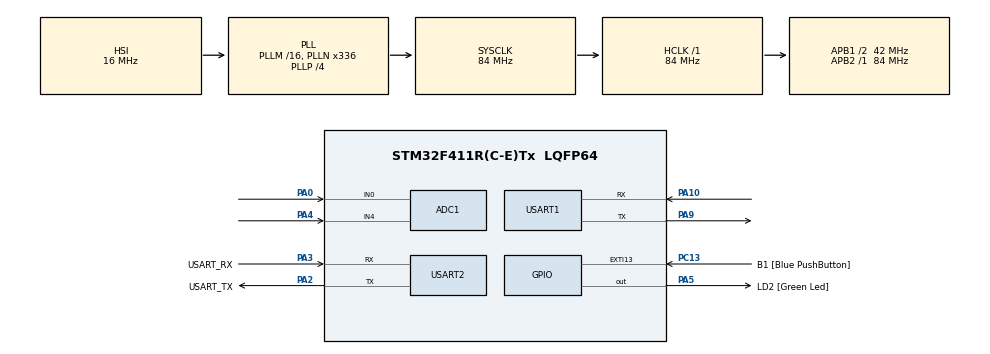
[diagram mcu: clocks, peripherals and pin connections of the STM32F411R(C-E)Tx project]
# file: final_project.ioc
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ADC1.Channel-0\#ChannelRegularConversion=ADC_CHANNEL_0
ADC1.NbrOfConversionFlag=1
ADC1.Rank-0\#ChannelRegularConversion=1
ADC1.SamplingTime-0\#ChannelRegularConversion=ADC_SAMPLETIME_3CYCLES
ADC1.master=1
Mcu.Family=STM32F4
Mcu.Name=STM32F411R(C-E)Tx
Mcu.Package=LQFP64
NVIC.PriorityGroup=NVIC_PRIORITYGROUP_0
PA0-WKUP.Signal=ADCx_IN0
PA10.Mode=Asynchronous
PA10.Signal=USART1_RX
PA13.GPIO_Label=TMS
PA13.Mode=Serial_Wire
PA13.Signal=SYS_JTMS-SWDIO
PA14.GPIO_Label=TCK
PA14.Mode=Serial_Wire
PA14.Signal=SYS_JTCK-SWCLK
PA2.GPIO_Label=USART_TX
PA2.Mode=Asynchronous
PA2.Signal=USART2_TX
PA3.GPIO_Label=USART_RX
PA3.Mode=Asynchronous
PA3.Signal=USART2_RX
PA4.Signal=ADCx_IN4
PA5.GPIO_Label=LD2 [Green Led]
PA5.Signal=GPIO_Output
PA9.Mode=Asynchronous
PA9.Signal=USART1_TX
PB3.GPIO_Label=SWO
PB3.Signal=SYS_JTDO-SWO
PC13-ANTI_TAMP.GPIO_Label=B1 [Blue PushButton]
PC13-ANTI_TAMP.GPIO_ModeDefaultEXTI=GPIO_MODE_IT_FALLING
PC13-ANTI_TAMP.Signal=GPXTI13
PC14-OSC32_IN.Mode=LSE-External-Oscillator
PC14-OSC32_IN.Signal=RCC_OSC32_IN
PC15-OSC32_OUT.Mode=LSE-External-Oscillator
PC15-OSC32_OUT.Signal=RCC_OSC32_OUT
PH0\ -\ OSC_IN.Mode=HSE-External-Clock-Source
PH0\ -\ OSC_IN.Signal=RCC_OSC_IN
PH1\ -\ OSC_OUT.Mode=HSE-External-Clock-Source
PH1\ -\ OSC_OUT.Signal=RCC_OSC_OUT
ProjectManager.HeapSize=0x200
ProjectManager.StackSize=0x400
ProjectManager.TargetToolchain=STM32CubeIDE
RCC.48MHZClocksFreq_Value=84000000
RCC.AHBFreq_Value=84000000
RCC.APB1CLKDivider=RCC_HCLK_DIV2
RCC.APB1Freq_Value=42000000
RCC.APB1TimFreq_Value=84000000
RCC.APB2Freq_Value=84000000
RCC.APB2TimFreq_Value=84000000
RCC.CortexFreq_Value=84000000
RCC.FLatency-AdvancedSettings=FLASH_LATENCY_2
RCC.HCLKFreq_Value=84000000
RCC.HSE_VALUE=8000000
RCC.HSI_VALUE=16000000
RCC.PLLN=336
RCC.PLLP=RCC_PLLP_DIV4
RCC.SYSCLKFreq_VALUE=84000000
RCC.SYSCLKSource=RCC_SYSCLKSOURCE_PLLCLK
RCC.VCOOutputFreq_Value=336000000
SH.ADCx_IN0.0=ADC1_IN0,IN0
SH.ADCx_IN4.0=ADC1_IN4,IN4
USART1.VirtualMode=VM_ASYNC
USART2.VirtualMode=VM_ASYNC
board=NUCLEO-F411RE

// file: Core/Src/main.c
/* USER CODE BEGIN Header */
/**
  ******************************************************************************
  * @file           : main.c
  * @brief          : Main program body
  ******************************************************************************
  * @attention
  *
  * Copyright (c) 2025 STMicroelectronics.
  * All rights reserved.
  *
  * This software is licensed under terms that can be found in the LICENSE file
  * in the root directory of this software component.
  * If no LICENSE file comes with this software, it is provided AS-IS.
  *
  ******************************************************************************
  */
/* USER CODE END Header */
#include "main.h"

/* USER CODE BEGIN Includes */
#include <stdio.h>
#include <string.h>
/* USER CODE END Includes */

/* USER CODE BEGIN PD */
#define DHT11_PORT GPIOA
#define DHT11_PIN  GPIO_PIN_1
/* USER CODE END PD */

ADC_HandleTypeDef hadc1;

UART_HandleTypeDef huart1;
UART_HandleTypeDef huart2;

/* USER CODE BEGIN PV */
// LDR averaging state
uint32_t ldrSum         = 0;
uint32_t ldrCount       = 0;
uint32_t ldr_avg        = 0;

// Water level sensor averaging state (PA4, ADC1_IN4)
uint32_t waterSum       = 0;
uint32_t waterCount     = 0;
uint32_t water_avg      = 0;

// Timing (ms) based on SysTick
uint32_t lastSampleTime = 0;   // LDR + Water sample every 10 ms
uint32_t lastDHTTime    = 0;   // DHT11 read every 1000 ms
uint32_t lastJSONTime   = 0;   // JSON send every 1000 ms

// Latest DHT11 values
uint8_t  g_temp = 0;
uint8_t  g_hum  = 0;
/* USER CODE END PV */

void SystemClock_Config(void);
static void MX_GPIO_Init(void);
static void MX_USART2_UART_Init(void);
static void MX_ADC1_Init(void);
static void MX_USART1_UART_Init(void);
/* USER CODE BEGIN PFP */

// Delay functions (DWT µs delay)
void DWT_Init(void);
void delay_us(uint32_t us);

// DHT11 related
void    DHT11_Pin_Output(void);
void    DHT11_Pin_Input(void);
int     DHT11_WaitForState(int state, uint32_t timeout_us);
uint8_t DHT11_Read(uint8_t *temp, uint8_t *hum);

// LDR (ADC) related
uint32_t Read_LDR(void);

// Water level (ADC) related (PA4)
uint32_t Read_Water(void);

// JSON sender to ESP8266
void Send_JSON(uint8_t temp, uint8_t hum, uint32_t ldr_avg, uint32_t water_avg);
/* USER CODE END PFP */

/* USER CODE BEGIN 0 */

// Enable DWT counter
void DWT_Init(void)
{
    CoreDebug->DEMCR |= CoreDebug_DEMCR_TRCENA_Msk;
    DWT->CYCCNT = 0;
    DWT->CTRL |= DWT_CTRL_CYCCNTENA_Msk;
}

// Microsecond delay
void delay_us(uint32_t us)
{
    uint32_t cycles = (SystemCoreClock / 1000000U) * us;
    uint32_t start = DWT->CYCCNT;
    while ((DWT->CYCCNT - start) < cycles);
}

// Change DHT11 pin to OUTPUT
void DHT11_Pin_Output(void)
{
    GPIO_InitTypeDef GPIO_InitStruct = {0};
    GPIO_InitStruct.Pin = DHT11_PIN;
    GPIO_InitStruct.Mode = GPIO_MODE_OUTPUT_PP;
    GPIO_InitStruct.Pull = GPIO_NOPULL;
    GPIO_InitStruct.Speed = GPIO_SPEED_FREQ_LOW;
    HAL_GPIO_Init(DHT11_PORT, &GPIO_InitStruct);
}

// Change DHT11 pin to INPUT
void DHT11_Pin_Input(void)
{
    GPIO_InitTypeDef GPIO_InitStruct = {0};
    GPIO_InitStruct.Pin = DHT11_PIN;
    GPIO_InitStruct.Mode = GPIO_MODE_INPUT;
    GPIO_InitStruct.Pull = GPIO_NOPULL;
    HAL_GPIO_Init(DHT11_PORT, &GPIO_InitStruct);
}

// Wait for pin state with timeout (us)
int DHT11_WaitForState(int state, uint32_t timeout_us)
{
    while (HAL_GPIO_ReadPin(DHT11_PORT, DHT11_PIN) != state)
    {
        if (timeout_us-- == 0U) return 1;
        delay_us(1);
    }
    return 0;
}

// Read DHT11 sensor (integer temp & hum)
uint8_t DHT11_Read(uint8_t *temp, uint8_t *hum)
{
    uint8_t data[5] = {0};

    // Start signal
    DHT11_Pin_Output();
    HAL_GPIO_WritePin(DHT11_PORT, DHT11_PIN, GPIO_PIN_RESET);
    HAL_Delay(20);                       // at least 18ms
    HAL_GPIO_WritePin(DHT11_PORT, DHT11_PIN, GPIO_PIN_SET);
    delay_us(30);                        // 20–40 us

    DHT11_Pin_Input();

    // Response: 80us low + 80us high
    if (DHT11_WaitForState(0, 100)) return 1;
    if (DHT11_WaitForState(1, 100)) return 1;

    // Read 40 bits
    for (int i = 0; i < 40; i++)
    {
        if (DHT11_WaitForState(0, 100)) return 1;  // wait for low
        if (DHT11_WaitForState(1, 100)) return 1;  // wait for high

        delay_us(40); // sample at ~40us after rising edge

        if (HAL_GPIO_ReadPin(DHT11_PORT, DHT11_PIN))
        {
            data[i / 8] |= (1 << (7 - (i % 8)));
        }

        // wait for line to go low again (end of bit)
        if (DHT11_WaitForState(0, 100)) return 1;
    }

    *hum  = data[0];  // integral humidity
    *temp = data[2];  // integral temperature

    return 0;
}

// Read LDR via ADC1 Channel 0 (PA0)
uint32_t Read_LDR(void)
{
    ADC_ChannelConfTypeDef sConfig = {0};

    sConfig.Channel      = ADC_CHANNEL_0;          // PA0
    sConfig.Rank         = 1;
    sConfig.SamplingTime = ADC_SAMPLETIME_480CYCLES;

    if (HAL_ADC_ConfigChannel(&hadc1, &sConfig) != HAL_OK)
    {
        return 0;
    }

    HAL_ADC_Start(&hadc1);
    if (HAL_ADC_PollForConversion(&hadc1, 10) != HAL_OK)
    {
        HAL_ADC_Stop(&hadc1);
        return 0;
    }

    uint32_t val = HAL_ADC_GetValue(&hadc1);
    HAL_ADC_Stop(&hadc1);

    return val;  // 0–4095
}

// Read Water Level sensor via ADC1 Channel 4 (PA4)
uint32_t Read_Water(void)
{
    ADC_ChannelConfTypeDef sConfig = {0};

    sConfig.Channel      = ADC_CHANNEL_4;          // PA4
    sConfig.Rank         = 1;
    sConfig.SamplingTime = ADC_SAMPLETIME_480CYCLES;

    if (HAL_ADC_ConfigChannel(&hadc1, &sConfig) != HAL_OK)
    {
        return 0;
    }

    HAL_ADC_Start(&hadc1);
    if (HAL_ADC_PollForConversion(&hadc1, 10) != HAL_OK)
    {
        HAL_ADC_Stop(&hadc1);
        return 0;
    }

    uint32_t val = HAL_ADC_GetValue(&hadc1);
    HAL_ADC_Stop(&hadc1);

    return val;  // 0–4095
}

// Send JSON to ESP8266 (via UART2)
void Send_JSON(uint8_t temp, uint8_t hum, uint32_t ldr_avg, uint32_t water_avg)
{
    char json[160];
    // ตัวอย่าง JSON:
    // {"temperature":28,"humidity":65,"ldr":1234,"water":3000}
    sprintf(json,
            "{\"temperature\":%u,\"humidity\":%u,\"ldr\":%lu,\"water\":%lu}\r\n",
            temp, hum,
            (unsigned long)ldr_avg,
            (unsigned long)water_avg);

    HAL_UART_Transmit(&huart2, (uint8_t*)json, strlen(json), 100);
    HAL_UART_Transmit(&huart1, (uint8_t*)json, strlen(json), 100);
}

/* USER CODE END 0 */

int main(void)
{

  /* MCU Configuration--------------------------------------------------------*/

  /* Reset of all peripherals, Initializes the Flash interface and the Systick. */
  HAL_Init();

  /* Configure the system clock */
  SystemClock_Config();

  /* Initialize all configured peripherals */
  MX_GPIO_Init();
  MX_USART2_UART_Init();
  MX_ADC1_Init();
  MX_USART1_UART_Init();
  /* USER CODE BEGIN 2 */
  DWT_Init(); // Enable µs delay for DHT11

  // เริ่มต้น timestamp ให้ตรงกับ HAL_GetTick ปัจจุบัน
  uint32_t now = HAL_GetTick();
  lastSampleTime = now;
  lastDHTTime    = now;
  lastJSONTime   = now;
  /* USER CODE END 2 */

  /* Infinite loop */
  /* USER CODE BEGIN WHILE */
  while (1)
  {
    now = HAL_GetTick();

    /* ---------- LDR & Water sampling every 10 ms (non-blocking) ---------- */
    if ((now - lastSampleTime) >= 10)
    {
        lastSampleTime = now;

        // LDR sample
        uint32_t ldr_val = Read_LDR();
        ldrSum   += ldr_val;
        ldrCount++;

        // Water level sample
        uint32_t water_val = Read_Water();
        waterSum   += water_val;
        waterCount++;
    }

    /* ---------- Read DHT11 every 1000 ms ---------- */
    if ((now - lastDHTTime) >= 1000)
    {
        lastDHTTime = now;

        uint8_t t, h;
        if (DHT11_Read(&t, &h) == 0)
        {
            g_temp = t;
            g_hum  = h;
        }
        else
        {
            // ถ้าอ่านไม่ได้ เก็บ error ไว้แบบง่าย ๆ (เช่น temp=0, hum=0)
            g_temp = 0;
            g_hum  = 0;
        }
    }

    /* ---------- Compute averages & send JSON every 1000 ms ---------- */
    if ((now - lastJSONTime) >= 1000)
    {
        lastJSONTime = now;

        // LDR avg
        if (ldrCount > 0)
            ldr_avg = ldrSum / ldrCount;
        else
            ldr_avg = 0;

        // Water avg
        if (waterCount > 0)
            water_avg = waterSum / waterCount;
        else
            water_avg = 0;

        // reset accumulators for next window
        ldrSum     = 0;
        ldrCount   = 0;
        waterSum   = 0;
        waterCount = 0;

        // ส่ง JSON ไป ESP8266
        Send_JSON(g_temp, g_hum, ldr_avg, water_avg);
    }
    /* USER CODE END WHILE */

  }
}

void SystemClock_Config(void)
{
  RCC_OscInitTypeDef RCC_OscInitStruct = {0};
  RCC_ClkInitTypeDef RCC_ClkInitStruct = {0};

  /** Configure the main internal regulator output voltage
  */
  __HAL_RCC_PWR_CLK_ENABLE();
  __HAL_PWR_VOLTAGESCALING_CONFIG(PWR_REGULATOR_VOLTAGE_SCALE1);

  /** Initializes the RCC Oscillators according to the specified parameters
  * in the RCC_OscInitTypeDef structure.
  */
  RCC_OscInitStruct.OscillatorType = RCC_OSCILLATORTYPE_HSI;
  RCC_OscInitStruct.HSIState = RCC_HSI_ON;
  RCC_OscInitStruct.HSICalibrationValue = RCC_HSICALIBRATION_DEFAULT;
  RCC_OscInitStruct.PLL.PLLState = RCC_PLL_ON;
  RCC_OscInitStruct.PLL.PLLSource = RCC_PLLSOURCE_HSI;
  RCC_OscInitStruct.PLL.PLLM = 16;
  RCC_OscInitStruct.PLL.PLLN = 336;
  RCC_OscInitStruct.PLL.PLLP = RCC_PLLP_DIV4;
  RCC_OscInitStruct.PLL.PLLQ = 4;
  if (HAL_RCC_OscConfig(&RCC_OscInitStruct) != HAL_OK)
  {
    Error_Handler();
  }

  /** Initializes the CPU, AHB and APB buses clocks
  */
  RCC_ClkInitStruct.ClockType = RCC_CLOCKTYPE_HCLK|RCC_CLOCKTYPE_SYSCLK
                              |RCC_CLOCKTYPE_PCLK1|RCC_CLOCKTYPE_PCLK2;
  RCC_ClkInitStruct.SYSCLKSource = RCC_SYSCLKSOURCE_PLLCLK;
  RCC_ClkInitStruct.AHBCLKDivider = RCC_SYSCLK_DIV1;
  RCC_ClkInitStruct.APB1CLKDivider = RCC_HCLK_DIV2;
  RCC_ClkInitStruct.APB2CLKDivider = RCC_HCLK_DIV1;

  if (HAL_RCC_ClockConfig(&RCC_ClkInitStruct, FLASH_LATENCY_2) != HAL_OK)
  {
    Error_Handler();
  }
}

static void MX_ADC1_Init(void)
{

  ADC_ChannelConfTypeDef sConfig = {0};

  /** Configure the global features of the ADC (Clock, Resolution, Data Alignment and number of conversion)
  */
  hadc1.Instance = ADC1;
  hadc1.Init.ClockPrescaler = ADC_CLOCK_SYNC_PCLK_DIV4;
  hadc1.Init.Resolution = ADC_RESOLUTION_12B;
  hadc1.Init.ScanConvMode = DISABLE;
  hadc1.Init.ContinuousConvMode = DISABLE;
  hadc1.Init.DiscontinuousConvMode = DISABLE;
  hadc1.Init.ExternalTrigConvEdge = ADC_EXTERNALTRIGCONVEDGE_NONE;
  hadc1.Init.ExternalTrigConv = ADC_SOFTWARE_START;
  hadc1.Init.DataAlign = ADC_DATAALIGN_RIGHT;
  hadc1.Init.NbrOfConversion = 1;
  hadc1.Init.DMAContinuousRequests = DISABLE;
  hadc1.Init.EOCSelection = ADC_EOC_SINGLE_CONV;
  if (HAL_ADC_Init(&hadc1) != HAL_OK)
  {
    Error_Handler();
  }

  /** Configure for the selected ADC regular channel its corresponding rank in the sequencer and its sample time.
  */
  sConfig.Channel = ADC_CHANNEL_0;
  sConfig.Rank = 1;
  sConfig.SamplingTime = ADC_SAMPLETIME_3CYCLES;
  if (HAL_ADC_ConfigChannel(&hadc1, &sConfig) != HAL_OK)
  {
    Error_Handler();
  }

}

static void MX_USART1_UART_Init(void)
{

  huart1.Instance = USART1;
  huart1.Init.BaudRate = 115200;
  huart1.Init.WordLength = UART_WORDLENGTH_8B;
  huart1.Init.StopBits = UART_STOPBITS_1;
  huart1.Init.Parity = UART_PARITY_NONE;
  huart1.Init.Mode = UART_MODE_TX_RX;
  huart1.Init.HwFlowCtl = UART_HWCONTROL_NONE;
  huart1.Init.OverSampling = UART_OVERSAMPLING_16;
  if (HAL_UART_Init(&huart1) != HAL_OK)
  {
    Error_Handler();
  }

}

static void MX_USART2_UART_Init(void)
{

  huart2.Instance = USART2;
  huart2.Init.BaudRate = 115200;
  huart2.Init.WordLength = UART_WORDLENGTH_8B;
  huart2.Init.StopBits = UART_STOPBITS_1;
  huart2.Init.Parity = UART_PARITY_NONE;
  huart2.Init.Mode = UART_MODE_TX_RX;
  huart2.Init.HwFlowCtl = UART_HWCONTROL_NONE;
  huart2.Init.OverSampling = UART_OVERSAMPLING_16;
  if (HAL_UART_Init(&huart2) != HAL_OK)
  {
    Error_Handler();
  }

}

static void MX_GPIO_Init(void)
{
  GPIO_InitTypeDef GPIO_InitStruct = {0};

  /* GPIO Ports Clock Enable */
  __HAL_RCC_GPIOC_CLK_ENABLE();
  __HAL_RCC_GPIOH_CLK_ENABLE();
  __HAL_RCC_GPIOA_CLK_ENABLE();
  __HAL_RCC_GPIOB_CLK_ENABLE();

  /*Configure GPIO pin Output Level */
  HAL_GPIO_WritePin(LD2_GPIO_Port, LD2_Pin, GPIO_PIN_RESET);

  /*Configure GPIO pin : B1_Pin */
  GPIO_InitStruct.Pin = B1_Pin;
  GPIO_InitStruct.Mode = GPIO_MODE_IT_FALLING;
  GPIO_InitStruct.Pull = GPIO_NOPULL;
  HAL_GPIO_Init(B1_GPIO_Port, &GPIO_InitStruct);

  /*Configure GPIO pin : LD2_Pin */
  GPIO_InitStruct.Pin = LD2_Pin;
  GPIO_InitStruct.Mode = GPIO_MODE_OUTPUT_PP;
  GPIO_InitStruct.Pull = GPIO_NOPULL;
  GPIO_InitStruct.Speed = GPIO_SPEED_FREQ_LOW;
  HAL_GPIO_Init(LD2_GPIO_Port, &GPIO_InitStruct);

}

void Error_Handler(void)
{
  __disable_irq();
  while (1)
  {
  }
}
